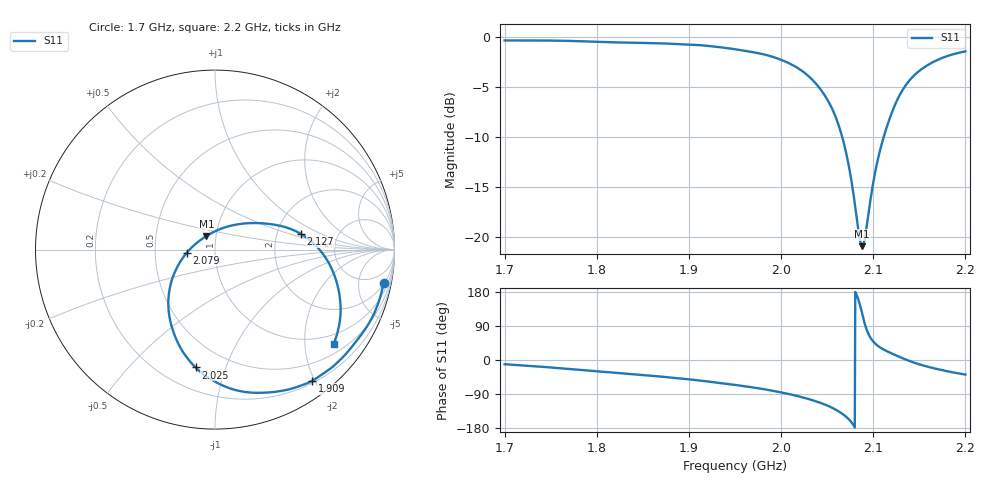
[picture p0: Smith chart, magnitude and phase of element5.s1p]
# Hz S RI R 50
! CMT, CMT808U, 21440046, 21.4.3/4
! Date: 12/1/2025 1:29:51 PM
! Data: Format (Calibration Info)
! Freq	S11:Re/Im(F2)
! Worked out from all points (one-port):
!   1001 points, 1.7 GHz to 2.2 GHz, reference 50 ohm
!   lowest |S11| = -21.0 dB at 2.088 GHz (marker M1), VSWR 1.20, Z = 44.9 + j6.86 ohm
!   |S11| at or under -10 dB: 2.066 GHz to 2.111 GHz (45.2 MHz wide, 2.16 % of centre)
!   S11 on the Smith chart (normalised r, x): 1.7 GHz: 2, -10; 1.909 GHz: 0.23, -1.96; 2.025 GHz: 0.34, -0.79; 2.079 GHz: 0.73, -0.03; 2.127 GHz: 2.74, +0.62; 2.2 GHz: 0.73, -2.69
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1.7e9  0.9404 -0.1843
1.7625e9  0.8845 -0.3606
1.825e9  0.7708 -0.5316
1.8875e9  0.6151 -0.6829
1.9095e9  0.5403 -0.7315
1.95e9  0.3563 -0.7896
1.986e9  0.1537 -0.7914
1.999e9  0.067 -0.767
2.0125e9  -0.025 -0.7213
2.0245e9  -0.1083 -0.6567
2.0405e9  -0.2041 -0.5247
2.056e9  -0.2578 -0.3446
2.0665e9  -0.2469 -0.1925
2.071e9  -0.2242 -0.1259
2.075e9  -0.1948 -0.0696
2.079e9  -0.1569 -0.0171
2.085e9  -0.0866 0.0489
2.088e9  -0.0478 0.0757
2.091e9  -0.007 0.0984
2.1e9  0.1224 0.1401
2.107e9  0.2208 0.148
2.1165e9  0.3487 0.1356
2.1265e9  0.48 0.0866
2.1375e9  0.5902 -0.00968
2.1495e9  0.6597 -0.1287
2.164e9  0.695 -0.2631
2.183e9  0.6927 -0.4159
2.2e9  0.6623 -0.5249
